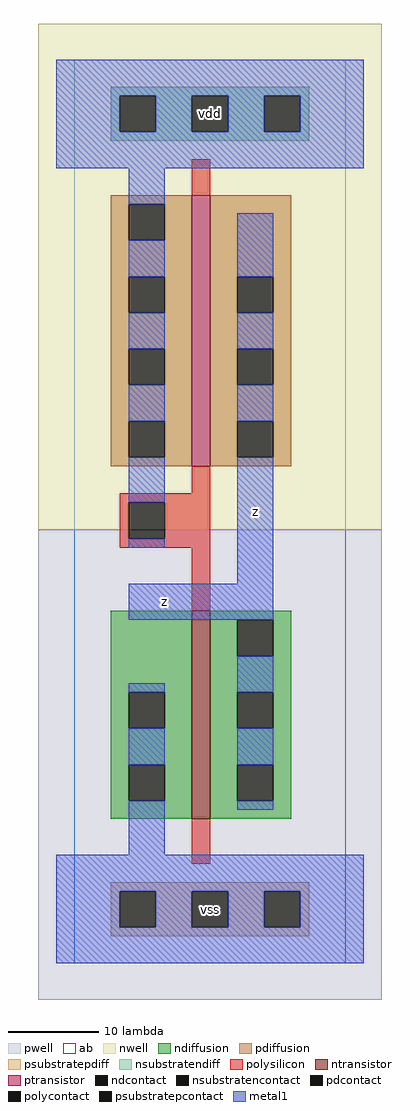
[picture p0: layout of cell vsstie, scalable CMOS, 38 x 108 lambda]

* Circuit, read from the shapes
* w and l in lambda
.subckt vsstie vdd vss z
M1 z vdd vss vss nfet w=23 l=2
M2 z vdd vdd vdd pfet w=30 l=2
.ends

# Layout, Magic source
magic
tech scmos
<< ab >>
rect 0 0 30 100
<< pwell >>
rect -4 -4 34 48
<< nwell >>
rect -4 48 34 104
<< polysilicon >>
rect 13 85 15 89
rect 13 52 15 55
rect 5 51 15 52
rect 5 47 6 51
rect 10 47 15 51
rect 5 46 15 47
rect 13 39 15 46
rect 13 11 15 16
<< ndiffusion >>
rect 4 30 13 39
rect 4 26 6 30
rect 10 26 13 30
rect 4 22 13 26
rect 4 18 6 22
rect 10 18 13 22
rect 4 16 13 18
rect 15 38 24 39
rect 15 34 18 38
rect 22 34 24 38
rect 15 30 24 34
rect 15 26 18 30
rect 22 26 24 30
rect 15 22 24 26
rect 15 18 18 22
rect 22 18 24 22
rect 15 16 24 18
<< pdiffusion >>
rect 4 84 13 85
rect 4 80 6 84
rect 10 80 13 84
rect 4 76 13 80
rect 4 72 6 76
rect 10 72 13 76
rect 4 68 13 72
rect 4 64 6 68
rect 10 64 13 68
rect 4 60 13 64
rect 4 56 6 60
rect 10 56 13 60
rect 4 55 13 56
rect 15 76 24 85
rect 15 72 18 76
rect 22 72 24 76
rect 15 68 24 72
rect 15 64 18 68
rect 22 64 24 68
rect 15 60 24 64
rect 15 56 18 60
rect 22 56 24 60
rect 15 55 24 56
<< metal1 >>
rect -2 96 32 100
rect -2 92 5 96
rect 9 92 13 96
rect 17 92 21 96
rect 25 92 32 96
rect -2 88 32 92
rect 6 84 10 88
rect 6 76 10 80
rect 6 68 10 72
rect 6 60 10 64
rect 6 51 10 56
rect 6 46 10 47
rect 18 76 22 83
rect 18 68 22 72
rect 18 60 22 64
rect 18 42 22 56
rect 6 38 22 42
rect 6 30 10 31
rect 6 22 10 26
rect 6 12 10 18
rect 18 30 22 34
rect 18 22 22 26
rect 18 17 22 18
rect -2 8 32 12
rect -2 4 5 8
rect 9 4 13 8
rect 17 4 21 8
rect 25 4 32 8
rect -2 0 32 4
<< ntransistor >>
rect 13 16 15 39
<< ptransistor >>
rect 13 55 15 85
<< polycontact >>
rect 6 47 10 51
<< ndcontact >>
rect 6 26 10 30
rect 6 18 10 22
rect 18 34 22 38
rect 18 26 22 30
rect 18 18 22 22
<< pdcontact >>
rect 6 80 10 84
rect 6 72 10 76
rect 6 64 10 68
rect 6 56 10 60
rect 18 72 22 76
rect 18 64 22 68
rect 18 56 22 60
<< psubstratepcontact >>
rect 5 4 9 8
rect 13 4 17 8
rect 21 4 25 8
<< nsubstratencontact >>
rect 5 92 9 96
rect 13 92 17 96
rect 21 92 25 96
<< psubstratepdiff >>
rect 4 8 26 9
rect 4 4 5 8
rect 9 4 13 8
rect 17 4 21 8
rect 25 4 26 8
rect 4 3 26 4
<< nsubstratendiff >>
rect 4 96 26 97
rect 4 92 5 96
rect 9 92 13 96
rect 17 92 21 96
rect 25 92 26 96
rect 4 91 26 92
<< labels >>
rlabel metal1 10 40 10 40 6 z
rlabel psubstratepcontact 15 6 15 6 6 vss
rlabel metal1 20 50 20 50 6 z
rlabel nsubstratencontact 15 94 15 94 6 vdd
<< end >>
